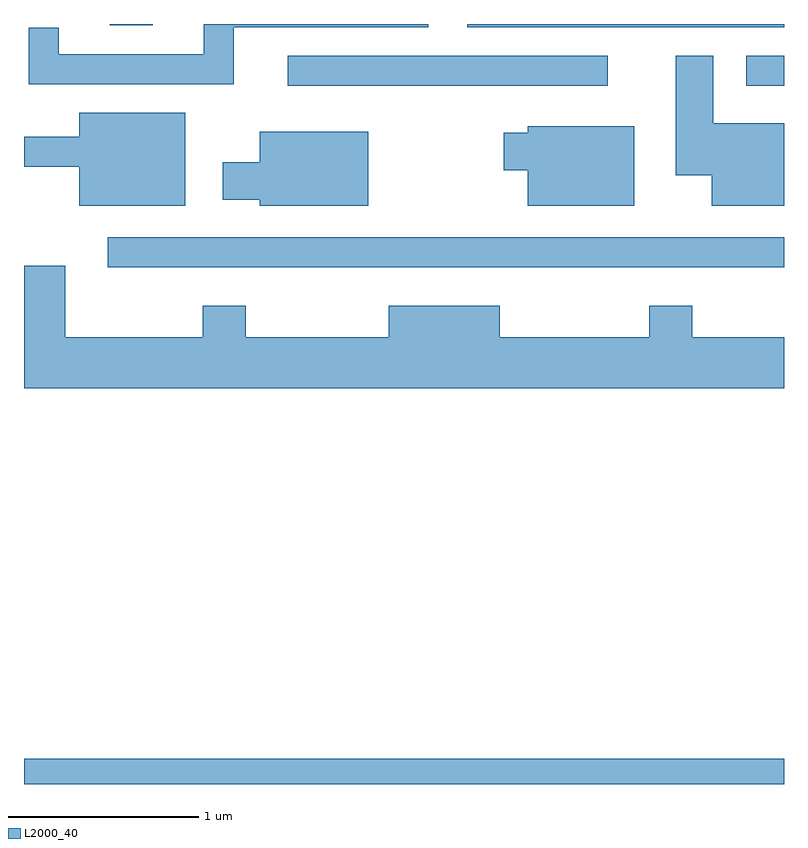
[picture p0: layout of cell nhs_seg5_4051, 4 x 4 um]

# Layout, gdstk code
import gdstk
lib = gdstk.Library(unit=1e-6, precision=1e-09)
def R(c, l, rs):  # rectangles x0, y0, x1, y1
    for r in rs: c.add(gdstk.rectangle(r[:2], r[2:], *l))
def P(c, l, *ps):  # polygons
    for p in ps: c.add(gdstk.Polygon(p, *l))
L2000_40 = (2000, 40)

nhs_seg5_4051 = lib.new_cell('nhs_seg5_4051')
R(nhs_seg5_4051, L2000_40, [(305.611,1428.072,309.611,1428.204), (306.053,1430.791,309.611,1430.949), (306.998,1431.746,308.683,1431.904), (309.413,1431.746,309.611,1431.904), (307.943,1432.056,309.611,1432.072), (306.061,1432.066,306.289,1432.072)])
P(nhs_seg5_4051, L2000_40, [(306.714,1432.056),(307.738,1432.056),(307.738,1432.072),(306.556,1432.072),(306.556,1431.914),(305.794,1431.914),(305.794,1432.053),(305.636,1432.053),(305.636,1431.756),(306.714,1431.756)],
  [(309.611,1431.549),(309.239,1431.549),(309.239,1431.904),(309.041,1431.904),(309.041,1431.276),(309.231,1431.276),(309.231,1431.116),(309.611,1431.116)],
  [(306.459,1431.604),(305.901,1431.604),(305.901,1431.479),(305.611,1431.479),(305.611,1431.321),(305.901,1431.321),(305.901,1431.116),(306.459,1431.116)],
  [(308.824,1431.534),(308.261,1431.534),(308.261,1431.499),(308.136,1431.499),(308.136,1431.301),(308.261,1431.301),(308.261,1431.116),(308.824,1431.116)],
  [(307.424,1431.504),(306.851,1431.504),(306.851,1431.344),(306.656,1431.344),(306.656,1431.146),(306.851,1431.146),(306.851,1431.116),(307.424,1431.116)],
  [(309.611,1430.424),(309.129,1430.424),(309.129,1430.589),(308.901,1430.589),(308.901,1430.424),(308.114,1430.424),(308.114,1430.589),(307.531,1430.589),(307.531,1430.424),(306.779,1430.424),(306.779,1430.589),(306.551,1430.589),(306.551,1430.424),(305.829,1430.424),(305.829,1430.799),(305.611,1430.799),(305.611,1430.156),(309.611,1430.156)])

lib.write_gds('nhs_seg5_4051.gds')
